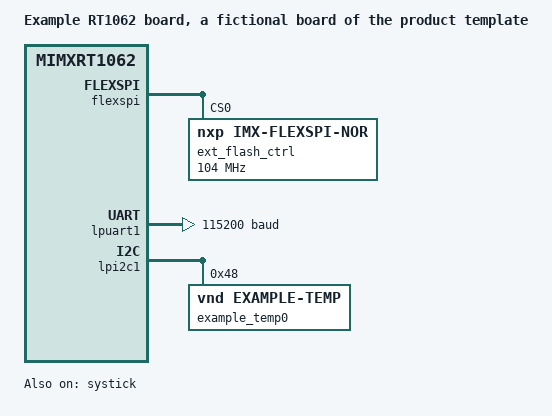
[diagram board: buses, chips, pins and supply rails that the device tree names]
/*
 * Copyright 2023, 2025 NXP
 * Copyright 2024 NXP
 *
 * SPDX-License-Identifier: Apache-2.0
 *
 * A fictional board: an i.MX RT1062 with a QSPI flash, a console UART and one I2C bus that carries
 * the example temperature sensor. It has no SDRAM and no other peripheral. A product starts from
 * this file and describes its own hardware.
 *
 * Modelled on two files of Zephyr v4.4.0, which carry the copyright lines above: the board
 * skeleton on boards/nxp/mimxrt1062_fmurt6/mimxrt1062_fmurt6.dts (Copyright 2023, 2025 NXP) and
 * the QSPI flash node on boards/nxp/mimxrt1060_evk/mimxrt1060_evk_mimxrt1062_qspi.dts (Copyright
 * 2024 NXP).
 */

/dts-v1/;

#include <nxp/imxrt/imxrt10xx/nxp_rt1060.dtsi>
#include "example_rt1062-pinctrl.dtsi"
#include <freq.h>

/ {
	model = "Example RT1062 board, a fictional board of the product template";
	compatible = "nxp,mimxrt1062";

	chosen {
		zephyr,flash-controller = &ext_flash_ctrl;
		zephyr,flash = &ext_flash;
		zephyr,sram = &ocram;
		zephyr,itcm = &itcm;
		zephyr,dtcm = &dtcm;
		zephyr,console = &lpuart1;
		zephyr,shell-uart = &lpuart1;
	};
};

&flexspi {
	status = "okay";
	pinctrl-0 = <&pinmux_flexspi1>;
	pinctrl-names = "default";
	ahb-prefetch;
	ahb-read-addr-opt;
	rx-clock-source = <1>;
	reg = <0x402a8000 0x4000>, <0x60000000 DT_SIZE_M(8)>;

	ext_flash_ctrl: flash-controller@0 {
		compatible = "nxp,imx-flexspi-nor";
		size = <DT_SIZE_M(8 * 8)>;
		reg = <0>;
		spi-max-frequency = <DT_FREQ_M(104)>;
		status = "okay";
		jedec-id = [9d 70 17];

		#address-cells = <1>;
		#size-cells = <1>;
		ranges = <0x0 0x60000000 DT_SIZE_M(8)>;

		ext_flash: flash@0 {
			compatible = "soc-nv-flash";
			reg = <0x0 DT_SIZE_M(8)>;
			erase-block-size = <DT_SIZE_K(4)>;
			write-block-size = <1>;
		};
	};
};

&lpuart1 {
	status = "okay";
	current-speed = <115200>;
	pinctrl-0 = <&pinmux_lpuart1>;
	pinctrl-names = "default";
};

&lpi2c1 {
	status = "okay";
	pinctrl-0 = <&pinmux_lpi2c1>;
	pinctrl-names = "default";

	/* The part that the example driver serves. The address is the one the part answers on. */
	example_temp0: example-temp@48 {
		compatible = "vnd,example-temp";
		reg = <0x48>;
		status = "okay";
	};
};

&systick {
	status = "okay";
};
